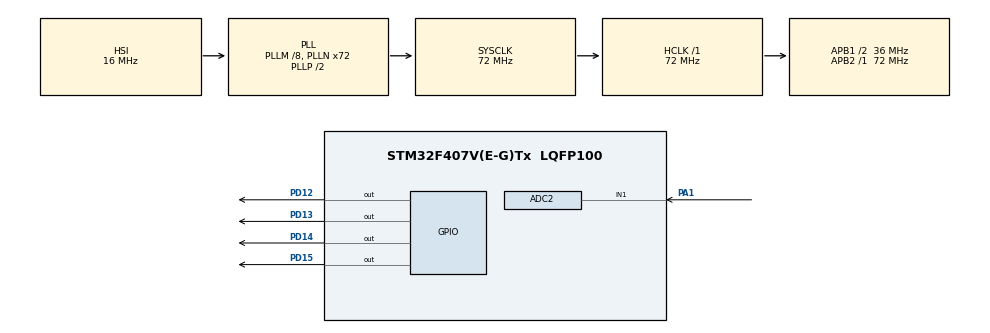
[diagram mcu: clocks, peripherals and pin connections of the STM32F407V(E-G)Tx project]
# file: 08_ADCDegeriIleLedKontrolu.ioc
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ADC2.Channel-0\#ChannelRegularConversion=ADC_CHANNEL_1
ADC2.ContinuousConvMode=ENABLE
ADC2.NbrOfConversionFlag=1
ADC2.Rank-0\#ChannelRegularConversion=1
ADC2.Resolution=ADC_RESOLUTION_8B
ADC2.SamplingTime-0\#ChannelRegularConversion=ADC_SAMPLETIME_112CYCLES
Mcu.Family=STM32F4
Mcu.Name=STM32F407V(E-G)Tx
Mcu.Package=LQFP100
NVIC.PriorityGroup=NVIC_PRIORITYGROUP_4
PA1.Signal=ADCx_IN1
PD12.Signal=GPIO_Output
PD13.Signal=GPIO_Output
PD14.Signal=GPIO_Output
PD15.Signal=GPIO_Output
ProjectManager.HeapSize=0x200
ProjectManager.StackSize=0x400
ProjectManager.TargetToolchain=STM32CubeIDE
RCC.48MHZClocksFreq_Value=36000000
RCC.AHBFreq_Value=72000000
RCC.APB1CLKDivider=RCC_HCLK_DIV2
RCC.APB1Freq_Value=36000000
RCC.APB1TimFreq_Value=72000000
RCC.APB2Freq_Value=72000000
RCC.APB2TimFreq_Value=72000000
RCC.CortexFreq_Value=72000000
RCC.HCLKFreq_Value=72000000
RCC.HSE_VALUE=25000000
RCC.HSI_VALUE=16000000
RCC.LSE_VALUE=32768
RCC.PLLM=8
RCC.PLLN=72
RCC.SYSCLKFreq_VALUE=72000000
RCC.SYSCLKSource=RCC_SYSCLKSOURCE_PLLCLK
RCC.VCOOutputFreq_Value=144000000
SH.ADCx_IN1.0=ADC2_IN1,IN1
board=custom

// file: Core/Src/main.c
/* USER CODE BEGIN Header */
/**
 ******************************************************************************
 * @file           : main.c
 * @brief          : Main program body
 ******************************************************************************
 * @attention
 *
 * Copyright (c) 2026 STMicroelectronics.
 * All rights reserved.
 *
 * This software is licensed under terms that can be found in the LICENSE file
 * in the root directory of this software component.
 * If no LICENSE file comes with this software, it is provided AS-IS.
 *
 ******************************************************************************
 */
/* USER CODE END Header */
#include "main.h"

ADC_HandleTypeDef hadc2;

/* USER CODE BEGIN PV */

uint8_t analogValue = 0;

/* USER CODE END PV */

void SystemClock_Config(void);
static void MX_GPIO_Init(void);
static void MX_ADC2_Init(void);

/* USER CODE BEGIN 0 */

uint8_t ReadAdcValue(void) {

	uint8_t adcValue = 0;

	if (HAL_ADC_Start(&hadc2) == HAL_OK) {
		if ((HAL_ADC_PollForConversion(&hadc2, 500)) == HAL_OK) {
			adcValue = (uint8_t)HAL_ADC_GetValue(&hadc2);
		}
		HAL_ADC_Stop(&hadc2);
	}

	return adcValue;
}

/* USER CODE END 0 */

int main(void) {

	/* MCU Configuration--------------------------------------------------------*/

	/* Reset of all peripherals, Initializes the Flash interface and the Systick. */
	HAL_Init();

	/* Configure the system clock */
	SystemClock_Config();

	/* Initialize all configured peripherals */
	MX_GPIO_Init();
	MX_ADC2_Init();

	/* Infinite loop */
	while (1) {

		/* USER CODE BEGIN 3 */

		/* USER CODE BEGIN 3 */
		analogValue = ReadAdcValue(); // 0-255

		if(analogValue < 51) {
		    HAL_GPIO_WritePin(GPIOD, GPIO_PIN_12 | GPIO_PIN_13 | GPIO_PIN_14 | GPIO_PIN_15, GPIO_PIN_RESET);
		}
		else if(analogValue < 102) {
		    HAL_GPIO_WritePin(GPIOD, GPIO_PIN_12, GPIO_PIN_SET);
		    HAL_GPIO_WritePin(GPIOD, GPIO_PIN_13 | GPIO_PIN_14 | GPIO_PIN_15, GPIO_PIN_RESET);
		}
		else if(analogValue < 153) {
		    HAL_GPIO_WritePin(GPIOD, GPIO_PIN_12 | GPIO_PIN_13, GPIO_PIN_SET);
		    HAL_GPIO_WritePin(GPIOD, GPIO_PIN_14 | GPIO_PIN_15, GPIO_PIN_RESET);
		}
		else if(analogValue < 204) {
		    HAL_GPIO_WritePin(GPIOD, GPIO_PIN_12 | GPIO_PIN_13 | GPIO_PIN_14, GPIO_PIN_SET);
		    HAL_GPIO_WritePin(GPIOD, GPIO_PIN_15, GPIO_PIN_RESET);
		}
		else {
		    HAL_GPIO_WritePin(GPIOD, GPIO_PIN_12 | GPIO_PIN_13 | GPIO_PIN_14 | GPIO_PIN_15, GPIO_PIN_SET);
		}

	}
	/* USER CODE END 3 */
}

void SystemClock_Config(void) {
	RCC_OscInitTypeDef RCC_OscInitStruct = { 0 };
	RCC_ClkInitTypeDef RCC_ClkInitStruct = { 0 };

	/** Configure the main internal regulator output voltage
	 */
	__HAL_RCC_PWR_CLK_ENABLE();
	__HAL_PWR_VOLTAGESCALING_CONFIG(PWR_REGULATOR_VOLTAGE_SCALE1);

	/** Initializes the RCC Oscillators according to the specified parameters
	 * in the RCC_OscInitTypeDef structure.
	 */
	RCC_OscInitStruct.OscillatorType = RCC_OSCILLATORTYPE_HSI;
	RCC_OscInitStruct.HSIState = RCC_HSI_ON;
	RCC_OscInitStruct.HSICalibrationValue = RCC_HSICALIBRATION_DEFAULT;
	RCC_OscInitStruct.PLL.PLLState = RCC_PLL_ON;
	RCC_OscInitStruct.PLL.PLLSource = RCC_PLLSOURCE_HSI;
	RCC_OscInitStruct.PLL.PLLM = 8;
	RCC_OscInitStruct.PLL.PLLN = 72;
	RCC_OscInitStruct.PLL.PLLP = RCC_PLLP_DIV2;
	RCC_OscInitStruct.PLL.PLLQ = 4;
	if (HAL_RCC_OscConfig(&RCC_OscInitStruct) != HAL_OK) {
		Error_Handler();
	}

	/** Initializes the CPU, AHB and APB buses clocks
	 */
	RCC_ClkInitStruct.ClockType = RCC_CLOCKTYPE_HCLK | RCC_CLOCKTYPE_SYSCLK
			| RCC_CLOCKTYPE_PCLK1 | RCC_CLOCKTYPE_PCLK2;
	RCC_ClkInitStruct.SYSCLKSource = RCC_SYSCLKSOURCE_PLLCLK;
	RCC_ClkInitStruct.AHBCLKDivider = RCC_SYSCLK_DIV1;
	RCC_ClkInitStruct.APB1CLKDivider = RCC_HCLK_DIV2;
	RCC_ClkInitStruct.APB2CLKDivider = RCC_HCLK_DIV1;

	if (HAL_RCC_ClockConfig(&RCC_ClkInitStruct, FLASH_LATENCY_2) != HAL_OK) {
		Error_Handler();
	}
}

static void MX_ADC2_Init(void) {

	ADC_ChannelConfTypeDef sConfig = { 0 };

	/** Configure the global features of the ADC (Clock, Resolution, Data Alignment and number of conversion)
	 */
	hadc2.Instance = ADC2;
	hadc2.Init.ClockPrescaler = ADC_CLOCK_SYNC_PCLK_DIV2;
	hadc2.Init.Resolution = ADC_RESOLUTION_8B;
	hadc2.Init.ScanConvMode = DISABLE;
	hadc2.Init.ContinuousConvMode = ENABLE;
	hadc2.Init.DiscontinuousConvMode = DISABLE;
	hadc2.Init.ExternalTrigConvEdge = ADC_EXTERNALTRIGCONVEDGE_NONE;
	hadc2.Init.ExternalTrigConv = ADC_SOFTWARE_START;
	hadc2.Init.DataAlign = ADC_DATAALIGN_RIGHT;
	hadc2.Init.NbrOfConversion = 1;
	hadc2.Init.DMAContinuousRequests = DISABLE;
	hadc2.Init.EOCSelection = ADC_EOC_SINGLE_CONV;
	if (HAL_ADC_Init(&hadc2) != HAL_OK) {
		Error_Handler();
	}

	/** Configure for the selected ADC regular channel its corresponding rank in the sequencer and its sample time.
	 */
	sConfig.Channel = ADC_CHANNEL_1;
	sConfig.Rank = 1;
	sConfig.SamplingTime = ADC_SAMPLETIME_112CYCLES;
	if (HAL_ADC_ConfigChannel(&hadc2, &sConfig) != HAL_OK) {
		Error_Handler();
	}

}

static void MX_GPIO_Init(void) {
	GPIO_InitTypeDef GPIO_InitStruct = { 0 };

	/* GPIO Ports Clock Enable */
	__HAL_RCC_GPIOA_CLK_ENABLE();
	__HAL_RCC_GPIOD_CLK_ENABLE();

	/*Configure GPIO pin Output Level */
	HAL_GPIO_WritePin(GPIOD,
			GPIO_PIN_12 | GPIO_PIN_13 | GPIO_PIN_14 | GPIO_PIN_15,
			GPIO_PIN_RESET);

	/*Configure GPIO pins : PD12 PD13 PD14 PD15 */
	GPIO_InitStruct.Pin = GPIO_PIN_12 | GPIO_PIN_13 | GPIO_PIN_14 | GPIO_PIN_15;
	GPIO_InitStruct.Mode = GPIO_MODE_OUTPUT_PP;
	GPIO_InitStruct.Pull = GPIO_NOPULL;
	GPIO_InitStruct.Speed = GPIO_SPEED_FREQ_LOW;
	HAL_GPIO_Init(GPIOD, &GPIO_InitStruct);

}

void Error_Handler(void) {
	__disable_irq();
	while (1) {
	}
}
